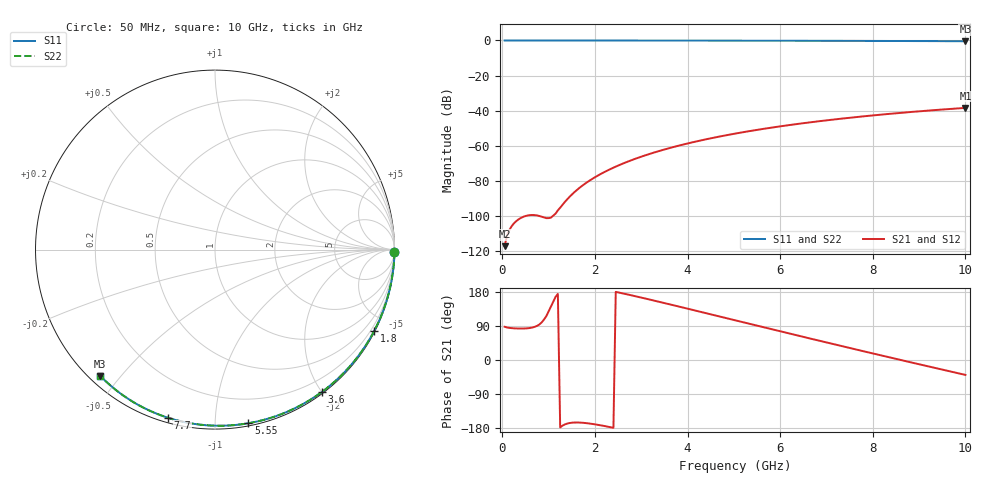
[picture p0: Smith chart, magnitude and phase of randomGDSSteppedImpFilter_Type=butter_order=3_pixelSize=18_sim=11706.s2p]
! freq	dB(S11)	phase(S11)	dB(S12)	phase(S12)
!  dB(S21)	phase(S21)	dB(S22)	phase(S22)
!S-par simulation data
#  GHz  S  DB  R 50
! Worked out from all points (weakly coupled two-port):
!   200 points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, 50 MHz to 10 GHz, reference 50 ohm
!   highest |S21| = -38.44 dB at 10 GHz (marker M1); lowest = -117.3 dB at 50 MHz (marker M2)
!   lowest |S11| = -0.4 dB at 10 GHz (marker M3), VSWR 39.44, Z = 1.52 - j22.1 ohm
!   |S11| at or under -10 dB: nowhere
!   |S22| runs from -0.4 to 0.0 dB; largest |S21 - S12| = 0
!   S11 on the Smith chart (normalised r, x): 50 MHz: open; 1.8 GHz: 0.04, -4.15; 3.6 GHz: 0.02, -2.01; 5.55 GHz: 0.02, -1.21; 7.7 GHz: 0.02, -0.76; 10 GHz: 0.03, -0.44
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0.05  -0.00 -0.8  -117.28 87.7  -117.28 87.7  -0.00 -0.8
0.9  -0.02 -13.7  -100.94 106.7  -100.94 106.7  -0.02 -13.7
1.75  -0.03 -26.4  -82.34 -165.8  -82.34 -165.8  -0.03 -26.4
1.8  -0.03 -27.1  -81.39 -166.4  -81.39 -166.4  -0.03 -27.1
1.85  -0.04 -27.8  -80.49 -167.1  -80.49 -167.1  -0.04 -27.8
1.9  -0.04 -28.6  -79.63 -167.9  -79.63 -167.9  -0.04 -28.6
2.05  -0.04 -30.8  -77.23 -170.8  -77.23 -170.8  -0.04 -30.8
2.25  -0.04 -33.7  -74.41 -175.3  -74.41 -175.3  -0.04 -33.7
2.45  -0.05 -36.6  -71.91 179.8  -71.91 179.8  -0.05 -36.6
2.65  -0.05 -39.5  -69.68 174.5  -69.68 174.5  -0.05 -39.5
3  -0.06 -44.5  -66.26 164.7  -66.26 164.7  -0.06 -44.5
3.4  -0.07 -50.2  -62.92 153.2  -62.92 153.2  -0.07 -50.2
3.6  -0.07 -53.0  -61.43 147.4  -61.43 147.4  -0.07 -53.0
4.3  -0.09 -62.6  -56.91 126.6  -56.91 126.6  -0.09 -62.6
5.05  -0.11 -72.6  -52.99 104.1  -52.99 104.1  -0.11 -72.6
5.55  -0.13 -79.1  -50.76 89.2  -50.76 89.2  -0.13 -79.1
6.1  -0.15 -86.1  -48.59 72.8  -48.59 72.8  -0.15 -86.1
6.7  -0.18 -93.6  -46.50 55.1  -46.50 55.1  -0.18 -93.6
7.7  -0.24 -105.6  -43.52 26.0  -43.52 26.0  -0.24 -105.6
8.35  -0.29 -113.3  -41.87 7.3  -41.87 7.3  -0.29 -113.3
9.15  -0.36 -122.6  -40.08 -15.5  -40.08 -15.5  -0.36 -122.6
10  -0.44 -132.3  -38.44 -39.3  -38.44 -39.3  -0.44 -132.3
